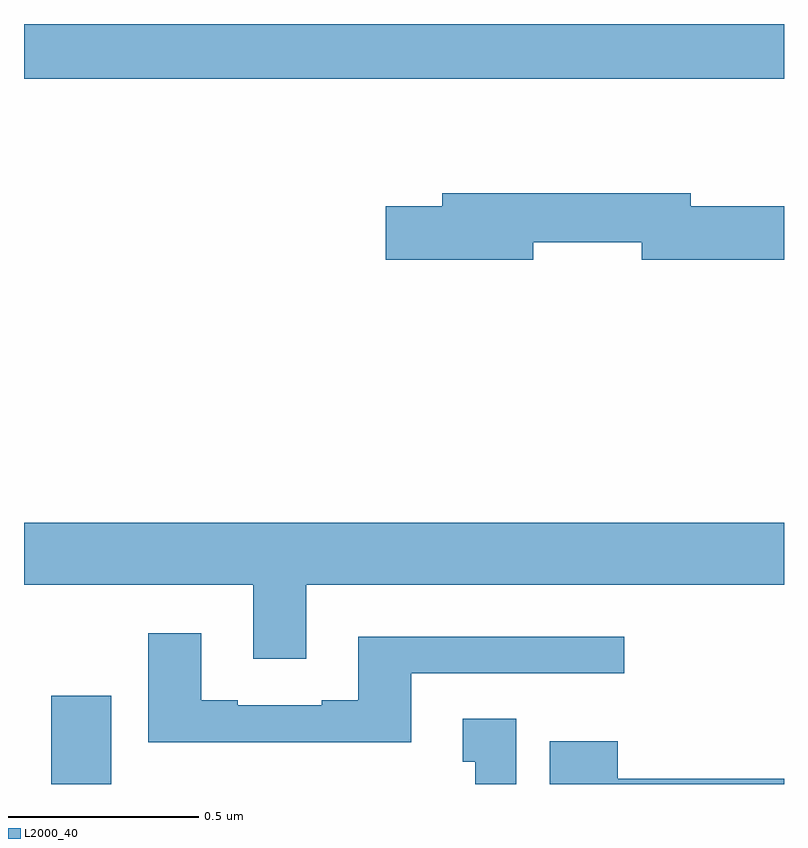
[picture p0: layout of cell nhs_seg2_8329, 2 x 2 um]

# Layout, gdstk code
import gdstk
lib = gdstk.Library(unit=1e-6, precision=1e-09)
def R(c, l, rs):  # rectangles x0, y0, x1, y1
    for r in rs: c.add(gdstk.rectangle(r[:2], r[2:], *l))
def P(c, l, *ps):  # polygons
    for p in ps: c.add(gdstk.Polygon(p, *l))
L2000_40 = (2000, 40)

nhs_seg2_8329 = lib.new_cell('nhs_seg2_8329')
R(nhs_seg2_8329, L2000_40, [(215.072,625.8,215.23,626.032), (215,627.656,217,627.8)])
P(nhs_seg2_8329, L2000_40, [(216.34,627.226),(216.626,627.226),(216.626,627.179),(217,627.179),(217,627.321),(216.754,627.321),(216.754,627.355),(216.101,627.355),(216.101,627.321),(215.952,627.321),(215.952,627.179),(216.34,627.179)],
  [(215.743,626.324),(217,626.324),(217,626.488),(215,626.488),(215,626.324),(215.603,626.324),(215.603,626.13),(215.743,626.13)],
  [(216.019,626.091),(216.58,626.091),(216.58,626.188),(215.879,626.188),(215.879,626.02),(215.783,626.02),(215.783,626.007),(215.563,626.007),(215.563,626.02),(215.467,626.02),(215.467,626.197),(215.327,626.197),(215.327,625.91),(216.019,625.91)],
  [(216.295,625.972),(216.155,625.972),(216.155,625.859),(216.188,625.859),(216.188,625.8),(216.295,625.8)],
  [(217,625.814),(216.562,625.814),(216.562,625.912),(216.383,625.912),(216.383,625.8),(217,625.8)])

lib.write_gds('nhs_seg2_8329.gds')
